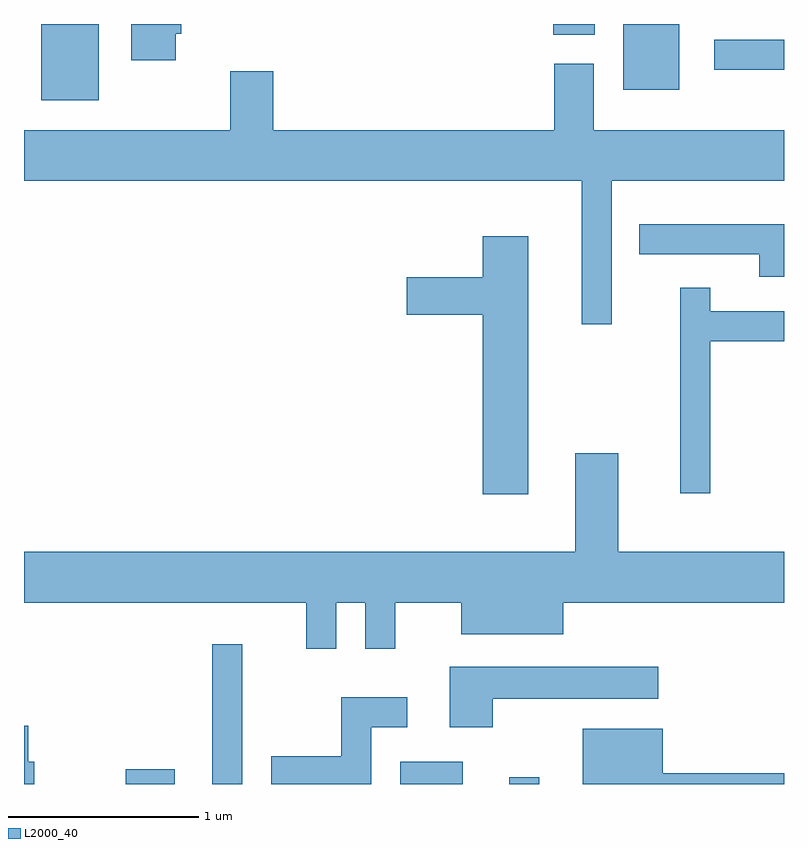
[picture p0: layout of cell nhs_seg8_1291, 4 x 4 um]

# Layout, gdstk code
import gdstk
lib = gdstk.Library(unit=1e-6, precision=1e-09)
def R(c, l, rs):  # rectangles x0, y0, x1, y1
    for r in rs: c.add(gdstk.rectangle(r[:2], r[2:], *l))
def P(c, l, *ps):  # polygons
    for p in ps: c.add(gdstk.Polygon(p, *l))
L2000_40 = (2000, 40)

nhs_seg8_1291 = lib.new_cell('nhs_seg8_1291')
R(nhs_seg8_1291, L2000_40, [(224.146,1844.342,224.404,1844.419), (224.601,1844.342,224.759,1845.078), (225.591,1844.342,225.919,1844.459), (226.166,1844.342,226.324,1844.378), (223.701,1847.941,224.004,1848.342), (226.766,1847.996,227.059,1848.342), (227.243,1848.101,227.611,1848.259), (226.396,1848.286,226.614,1848.342), (224.866,1848.341,225.119,1848.342)])
P(nhs_seg8_1291, L2000_40, [(224.409,1848.291),(224.439,1848.291),(224.439,1848.342),(224.176,1848.342),(224.176,1848.151),(224.409,1848.151)],
  [(226.704,1847.516),(227.611,1847.516),(227.611,1847.784),(226.609,1847.784),(226.609,1848.134),(226.401,1848.134),(226.401,1847.784),(224.924,1847.784),(224.924,1848.094),(224.696,1848.094),(224.696,1847.784),(223.611,1847.784),(223.611,1847.516),(226.546,1847.516),(226.546,1846.763),(226.704,1846.763)],
  [(227.611,1847.289),(226.848,1847.289),(226.848,1847.131),(227.481,1847.131),(227.481,1847.011),(227.611,1847.011)],
  [(226.264,1847.224),(226.026,1847.224),(226.026,1847.009),(225.626,1847.009),(225.626,1846.811),(226.026,1846.811),(226.026,1845.866),(226.264,1845.866)],
  [(227.224,1846.671),(227.611,1846.671),(227.611,1846.829),(227.224,1846.829),(227.224,1846.953),(227.066,1846.953),(227.066,1845.873),(227.224,1845.873)],
  [(225.254,1845.296),(225.406,1845.296),(225.406,1845.053),(225.564,1845.053),(225.564,1845.296),(225.911,1845.296),(225.911,1845.131),(226.449,1845.131),(226.449,1845.296),(227.611,1845.296),(227.611,1845.564),(226.739,1845.564),(226.739,1846.084),(226.511,1846.084),(226.511,1845.564),(223.611,1845.564),(223.611,1845.296),(225.096,1845.296),(225.096,1845.053),(225.254,1845.053)],
  [(226.079,1844.791),(226.948,1844.791),(226.948,1844.959),(225.851,1844.959),(225.851,1844.641),(226.079,1844.641)],
  [(225.439,1844.641),(225.628,1844.641),(225.628,1844.799),(225.281,1844.799),(225.281,1844.489),(224.911,1844.489),(224.911,1844.342),(225.439,1844.342)],
  [(223.664,1844.459),(223.634,1844.459),(223.634,1844.649),(223.611,1844.649),(223.611,1844.342),(223.664,1844.342)],
  [(227.611,1844.399),(226.974,1844.399),(226.974,1844.634),(226.551,1844.634),(226.551,1844.342),(227.611,1844.342)])

lib.write_gds('nhs_seg8_1291.gds')
